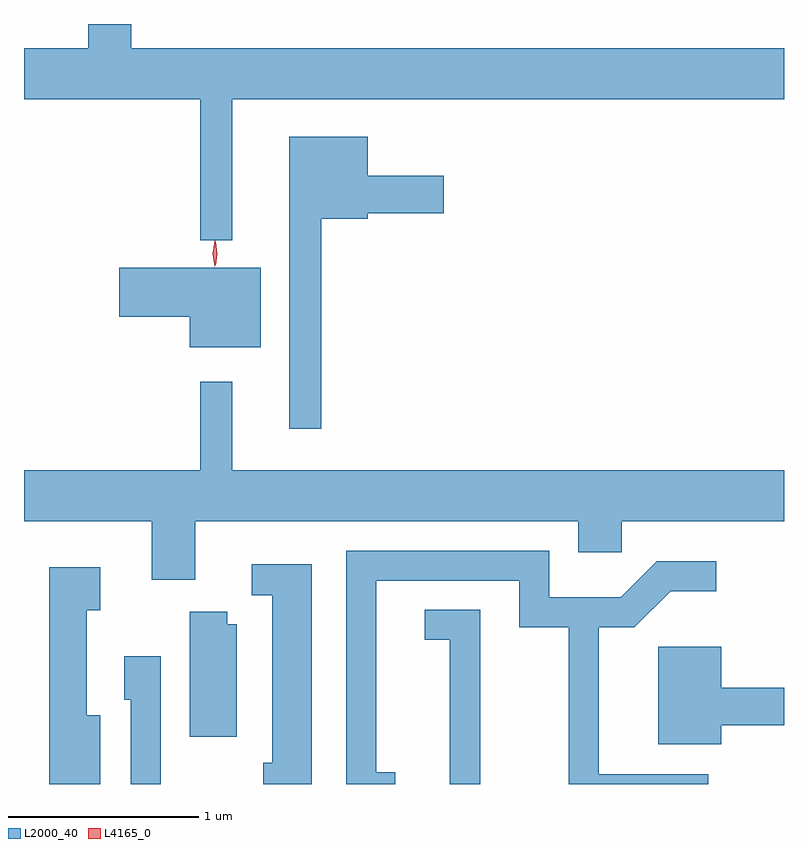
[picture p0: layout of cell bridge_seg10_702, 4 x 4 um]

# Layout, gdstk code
import gdstk
lib = gdstk.Library(unit=1e-6, precision=1e-09)
def P(c, l, *ps):  # polygons
    for p in ps: c.add(gdstk.Polygon(p, *l))
L2000_40 = (2000, 40)
L4165_0 = (4165, 0)

bridge_seg10_702 = lib.new_cell('bridge_seg10_702')
P(bridge_seg10_702, L2000_40, [(1008.799,2127.236),(1011.704,2127.236),(1011.704,2127.504),(1008.269,2127.504),(1008.269,2127.632),(1008.041,2127.632),(1008.041,2127.504),(1007.704,2127.504),(1007.704,2127.236),(1008.631,2127.236),(1008.631,2126.493),(1008.799,2126.493)],
  [(1009.269,2126.606),(1009.514,2126.606),(1009.514,2126.636),(1009.914,2126.636),(1009.914,2126.834),(1009.514,2126.834),(1009.514,2127.039),(1009.101,2127.039),(1009.101,2125.503),(1009.269,2125.503)],
  [(1008.949,2126.349),(1008.206,2126.349),(1008.206,2126.091),(1008.576,2126.091),(1008.576,2125.931),(1008.949,2125.931)],
  [(1008.604,2125.016),(1010.621,2125.016),(1010.621,2124.851),(1010.849,2124.851),(1010.849,2125.016),(1011.704,2125.016),(1011.704,2125.284),(1008.799,2125.284),(1008.799,2125.748),(1008.631,2125.748),(1008.631,2125.284),(1007.704,2125.284),(1007.704,2125.016),(1008.376,2125.016),(1008.376,2124.706),(1008.604,2124.706)],
  [(1009.658,2123.694),(1009.559,2123.694),(1009.559,2124.701),(1010.311,2124.701),(1010.311,2124.456),(1010.571,2124.456),(1010.571,2123.632),(1011.304,2123.632),(1011.304,2123.684),(1010.729,2123.684),(1010.729,2124.456),(1010.917,2124.456),(1011.107,2124.646),(1011.348,2124.646),(1011.348,2124.804),(1011.034,2124.804),(1010.844,2124.614),(1010.469,2124.614),(1010.469,2124.859),(1009.401,2124.859),(1009.401,2123.632),(1009.658,2123.632)],
  [(1009.219,2124.789),(1008.903,2124.789),(1008.903,2124.626),(1009.011,2124.626),(1009.011,2123.744),(1008.963,2123.744),(1008.963,2123.632),(1009.219,2123.632)],
  [(1008.104,2123.994),(1008.034,2123.994),(1008.034,2124.546),(1008.104,2124.546),(1008.104,2124.774),(1007.836,2124.774),(1007.836,2123.632),(1008.104,2123.632)],
  [(1010.104,2124.549),(1009.813,2124.549),(1009.813,2124.391),(1009.946,2124.391),(1009.946,2123.632),(1010.104,2123.632)],
  [(1008.824,2124.474),(1008.774,2124.474),(1008.774,2124.539),(1008.576,2124.539),(1008.576,2123.881),(1008.824,2123.881)],
  [(1011.374,2123.941),(1011.704,2123.941),(1011.704,2124.139),(1011.374,2124.139),(1011.374,2124.354),(1011.041,2124.354),(1011.041,2123.841),(1011.374,2123.841)],
  [(1008.424,2124.304),(1008.231,2124.304),(1008.231,2124.076),(1008.266,2124.076),(1008.266,2123.632),(1008.424,2123.632)])
P(bridge_seg10_702, L4165_0, [(1008.712,2126.36),(1008.712,2126.36),(1008.702,2126.423),(1008.712,2126.486),(1008.712,2126.487),(1008.713,2126.486),(1008.722,2126.423),(1008.713,2126.36)],
  [(1008.707,2126.354),(1008.698,2126.422),(1008.709,2126.49),(1008.709,2126.49),(1008.71,2126.49),(1008.718,2126.422),(1008.708,2126.354),(1008.708,2126.354)])

lib.write_gds('bridge_seg10_702.gds')
